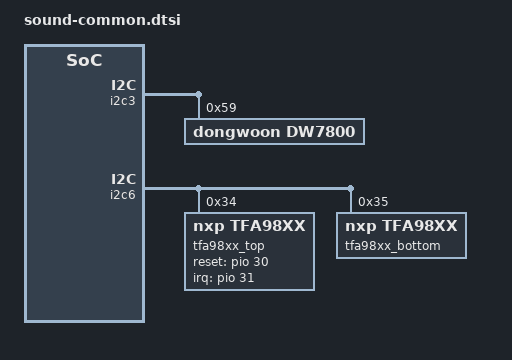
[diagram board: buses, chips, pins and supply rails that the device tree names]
/*
 * Mediatek's mt6885 SoC device tree source
 *
 * Copyright (C) 2016 MediaTek Inc.
 *
 * This program is free software; you can redistribute it and/or modify
 * it under the terms of the GNU General Public License version 2 as
 * published by the Free Software Foundation.
 *
 * This program is distributed in the hope that it will be useful,
 * but WITHOUT ANY WARRANTY; without even the implied warranty of
 * MERCHANTABILITY or FITNESS FOR A PARTICULAR PURPOSE.
 * See http://www.gnu.org/licenses/gpl-2.0.html for more details.
 */
&i2c3 {
	status = "okay";
	dw7800@59 {
		compatible = "dongwoon,dw7800";
		reg = <0x59>;
		dongwoon,vpwr-on = <0>;
		status = "okay";
	};
};


&i2c6 {
	/*Left*/
	tfa98xx_top:tfa98xx@34 {
		compatible = "nxp,tfa98xx";
		reg = <0x34>;
		status = "okay";
		reset-gpio = <&pio 30 0>;
		irq-gpio = <&pio 31 0>;
		reset-polarity = <0>;
	};
	/*Right*/
	tfa98xx_bottom:tfa98xx@35 {
		compatible = "nxp,tfa98xx";
		reg = <0x35>;
		status = "okay";
	};
};

&sound {
	compatible = "mediatek,mt6885-mt6359-sound";
	mediatek,audio-codec = <&mt6359_snd>;
	mediatek,platform = <&afe>;
	mtk_spk_i2s_out = <3>;
	mtk_spk_i2s_in = <9>;

	ext-codec = <&tfa98xx_top>, <&tfa98xx_bottom>;
	ext-codec-names = "tfa98xx-codec.6-0034", "tfa98xx-codec.6-0035";
};
